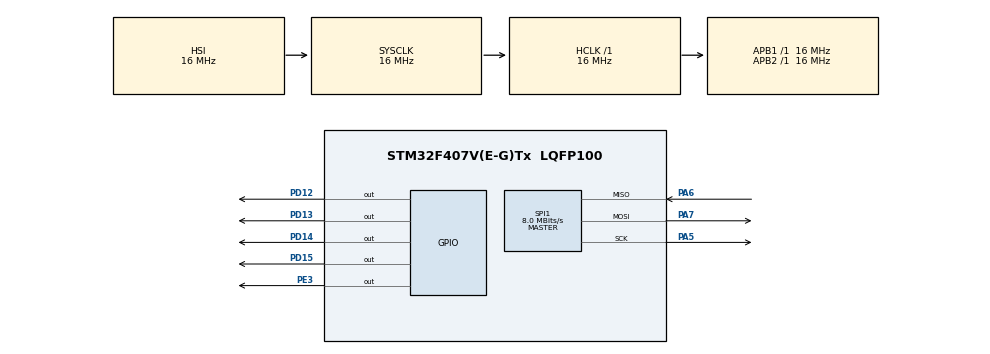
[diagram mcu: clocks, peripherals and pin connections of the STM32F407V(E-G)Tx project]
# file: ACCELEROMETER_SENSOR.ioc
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Mcu.Family=STM32F4
Mcu.Name=STM32F407V(E-G)Tx
Mcu.Package=LQFP100
NVIC.PriorityGroup=NVIC_PRIORITYGROUP_4
PA5.Mode=Full_Duplex_Master
PA5.Signal=SPI1_SCK
PA6.Mode=Full_Duplex_Master
PA6.Signal=SPI1_MISO
PA7.Mode=Full_Duplex_Master
PA7.Signal=SPI1_MOSI
PD12.Signal=GPIO_Output
PD13.Signal=GPIO_Output
PD14.Signal=GPIO_Output
PD15.Signal=GPIO_Output
PE3.GPIO_PuPd=GPIO_PULLUP
PE3.PinState=GPIO_PIN_SET
PE3.Signal=GPIO_Output
ProjectManager.HeapSize=0x200
ProjectManager.StackSize=0x400
ProjectManager.TargetToolchain=STM32CubeIDE
RCC.AHBFreq_Value=16000000
RCC.APB1Freq_Value=16000000
RCC.APB2Freq_Value=16000000
RCC.CortexFreq_Value=16000000
RCC.HSE_VALUE=25000000
RCC.HSI_VALUE=16000000
RCC.LSE_VALUE=32768
RCC.SYSCLKFreq_VALUE=16000000
RCC.VCOOutputFreq_Value=192000000
SPI1.CalculateBaudRate=8.0 MBits/s
SPI1.Direction=SPI_DIRECTION_2LINES
SPI1.Mode=SPI_MODE_MASTER
SPI1.VirtualType=VM_MASTER
board=custom

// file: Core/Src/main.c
/* USER CODE BEGIN Header */
/* USER CODE END Header */
#include "main.h"

SPI_HandleTypeDef hspi1;

/* USER CODE BEGIN PV */
uint8_t ReadFlag = 0x80;

uint8_t Return[6];
uint8_t TxBuf[2];

uint8_t WhoAmI;

int8_t Rx_x;
int8_t Rx_y;
int8_t Rx_z;
/* USER CODE END PV */

void SystemClock_Config(void);
static void MX_GPIO_Init(void);
static void MX_SPI1_Init(void);

int main(void)
{

  /* MCU Configuration--------------------------------------------------------*/

  /* Reset of all peripherals, Initializes the Flash interface and the Systick. */
  HAL_Init();

  /* Configure the system clock */
  SystemClock_Config();

  /* Initialize all configured peripherals */
  MX_GPIO_Init();
  MX_SPI1_Init();
  /* USER CODE BEGIN 2 */
  /* WHO AM I */
  HAL_GPIO_WritePin(GPIOE, GPIO_PIN_3, GPIO_PIN_RESET);

  TxBuf[0] = 0x0F | ReadFlag;

  HAL_SPI_Transmit(&hspi1, TxBuf, 1, 50);
  HAL_SPI_Receive(&hspi1, &WhoAmI, 1, 50);

  HAL_GPIO_WritePin(GPIOE, GPIO_PIN_3, GPIO_PIN_SET);

  /* CTRL_REG4 */
  HAL_GPIO_WritePin(GPIOE, GPIO_PIN_3, GPIO_PIN_RESET);

  TxBuf[0] = 0x20;       // WRITE -> bit7 = 0
  TxBuf[1] = 0x47;       // 25 Hz, XYZ enabled

  HAL_SPI_Transmit(&hspi1, TxBuf, 2, 50);

  HAL_GPIO_WritePin(GPIOE, GPIO_PIN_3, GPIO_PIN_SET);

  /* CTRL_REG3 */
  HAL_GPIO_WritePin(GPIOE, GPIO_PIN_3, GPIO_PIN_RESET);

  TxBuf[0] = 0x24;       // CTRL_REG3
  TxBuf[1] = 0xC8;

  HAL_SPI_Transmit(&hspi1, TxBuf, 2, 50);

  /* USER CODE END 2 */

  /* Infinite loop */

    /* USER CODE BEGIN 3 */
 while (1)
 {
     HAL_GPIO_WritePin(GPIOE, GPIO_PIN_3, GPIO_PIN_RESET);

     /* Start from X low byte */
     TxBuf[0] = 0x28 | ReadFlag;

     HAL_SPI_Transmit(&hspi1, TxBuf, 1, 50);

     /* X_L X_H Y_L Y_H Z_L Z_H */
     HAL_SPI_Receive(&hspi1, Return, 6, 50);

     HAL_GPIO_WritePin(GPIOE, GPIO_PIN_3, GPIO_PIN_SET);

     Rx_x = (int16_t)(((uint16_t)Return[1] << 8)
                      | Return[0]);

     Rx_y = (int16_t)(((uint16_t)Return[3] << 8)
                      | Return[2]);

     Rx_z = (int16_t)(((uint16_t)Return[5] << 8)
                      | Return[4]);

     HAL_Delay(100);
 }

  /* USER CODE END 3 */
}

void SystemClock_Config(void)
{
  RCC_OscInitTypeDef RCC_OscInitStruct = {0};
  RCC_ClkInitTypeDef RCC_ClkInitStruct = {0};

  /** Configure the main internal regulator output voltage
  */
  __HAL_RCC_PWR_CLK_ENABLE();
  __HAL_PWR_VOLTAGESCALING_CONFIG(PWR_REGULATOR_VOLTAGE_SCALE1);

  /** Initializes the RCC Oscillators according to the specified parameters
  * in the RCC_OscInitTypeDef structure.
  */
  RCC_OscInitStruct.OscillatorType = RCC_OSCILLATORTYPE_HSI;
  RCC_OscInitStruct.HSIState = RCC_HSI_ON;
  RCC_OscInitStruct.HSICalibrationValue = RCC_HSICALIBRATION_DEFAULT;
  RCC_OscInitStruct.PLL.PLLState = RCC_PLL_NONE;
  if (HAL_RCC_OscConfig(&RCC_OscInitStruct) != HAL_OK)
  {
    Error_Handler();
  }

  /** Initializes the CPU, AHB and APB buses clocks
  */
  RCC_ClkInitStruct.ClockType = RCC_CLOCKTYPE_HCLK|RCC_CLOCKTYPE_SYSCLK
                              |RCC_CLOCKTYPE_PCLK1|RCC_CLOCKTYPE_PCLK2;
  RCC_ClkInitStruct.SYSCLKSource = RCC_SYSCLKSOURCE_HSI;
  RCC_ClkInitStruct.AHBCLKDivider = RCC_SYSCLK_DIV1;
  RCC_ClkInitStruct.APB1CLKDivider = RCC_HCLK_DIV1;
  RCC_ClkInitStruct.APB2CLKDivider = RCC_HCLK_DIV1;

  if (HAL_RCC_ClockConfig(&RCC_ClkInitStruct, FLASH_LATENCY_0) != HAL_OK)
  {
    Error_Handler();
  }
}

static void MX_SPI1_Init(void)
{

  /* SPI1 parameter configuration*/
  hspi1.Instance = SPI1;
  hspi1.Init.Mode = SPI_MODE_MASTER;
  hspi1.Init.Direction = SPI_DIRECTION_2LINES;
  hspi1.Init.DataSize = SPI_DATASIZE_8BIT;
  hspi1.Init.CLKPolarity = SPI_POLARITY_LOW;
  hspi1.Init.CLKPhase = SPI_PHASE_1EDGE;
  hspi1.Init.NSS = SPI_NSS_SOFT;
  hspi1.Init.BaudRatePrescaler = SPI_BAUDRATEPRESCALER_2;
  hspi1.Init.FirstBit = SPI_FIRSTBIT_MSB;
  hspi1.Init.TIMode = SPI_TIMODE_DISABLE;
  hspi1.Init.CRCCalculation = SPI_CRCCALCULATION_DISABLE;
  hspi1.Init.CRCPolynomial = 10;
  if (HAL_SPI_Init(&hspi1) != HAL_OK)
  {
    Error_Handler();
  }

}

static void MX_GPIO_Init(void)
{
  GPIO_InitTypeDef GPIO_InitStruct = {0};

  /* GPIO Ports Clock Enable */
  __HAL_RCC_GPIOE_CLK_ENABLE();
  __HAL_RCC_GPIOA_CLK_ENABLE();
  __HAL_RCC_GPIOD_CLK_ENABLE();

  /*Configure GPIO pin Output Level */
  HAL_GPIO_WritePin(GPIOE, GPIO_PIN_3, GPIO_PIN_SET);

  /*Configure GPIO pin Output Level */
  HAL_GPIO_WritePin(GPIOD, GPIO_PIN_12|GPIO_PIN_13|GPIO_PIN_14|GPIO_PIN_15, GPIO_PIN_RESET);

  /*Configure GPIO pin : PE3 */
  GPIO_InitStruct.Pin = GPIO_PIN_3;
  GPIO_InitStruct.Mode = GPIO_MODE_OUTPUT_PP;
  GPIO_InitStruct.Pull = GPIO_PULLUP;
  GPIO_InitStruct.Speed = GPIO_SPEED_FREQ_LOW;
  HAL_GPIO_Init(GPIOE, &GPIO_InitStruct);

  /*Configure GPIO pins : PD12 PD13 PD14 PD15 */
  GPIO_InitStruct.Pin = GPIO_PIN_12|GPIO_PIN_13|GPIO_PIN_14|GPIO_PIN_15;
  GPIO_InitStruct.Mode = GPIO_MODE_OUTPUT_PP;
  GPIO_InitStruct.Pull = GPIO_NOPULL;
  GPIO_InitStruct.Speed = GPIO_SPEED_FREQ_LOW;
  HAL_GPIO_Init(GPIOD, &GPIO_InitStruct);

}

void Error_Handler(void)
{
}
